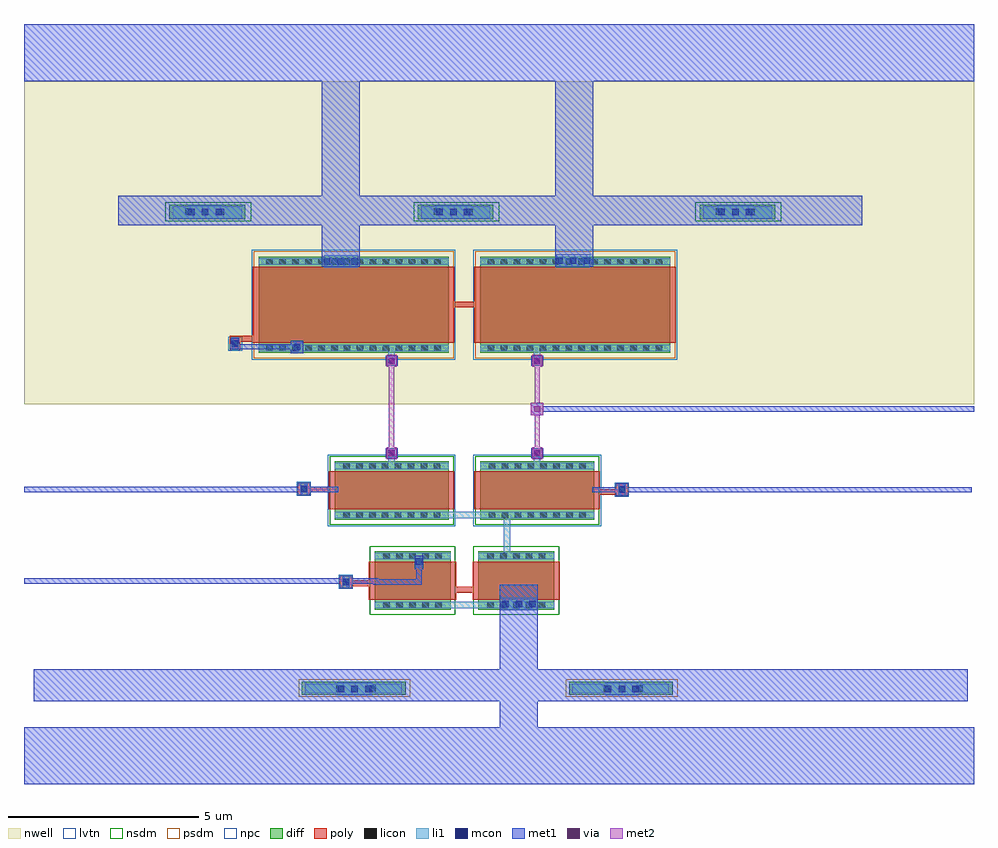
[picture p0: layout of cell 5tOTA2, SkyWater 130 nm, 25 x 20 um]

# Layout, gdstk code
from math import pi, radians
import gdstk
lib = gdstk.Library(unit=1e-6, precision=1e-09)
def R(c, l, rs):  # rectangles x0, y0, x1, y1
    for r in rs: c.add(gdstk.rectangle(r[:2], r[2:], *l))
def A(c, l, x, y, w, h, nx, ny, dx, dy):  # array of equal rectangles
    R(c, l, [(x+i*dx, y+j*dy, x+i*dx+w, y+j*dy+h) for i in range(nx) for j in range(ny)])
nwell = (64, 20)
diff = (65, 20)
poly = (66, 20)
licon = (66, 44)
li1 = (67, 20)
mcon = (67, 44)
met1 = (68, 20)
via = (68, 44)
met2 = (69, 20)
nsdm = (93, 44)
psdm = (94, 20)
npc = (95, 20)
lvtn = (125, 44)

pfet_01v8_lvt_cdns_77835 = lib.new_cell('pfet_01v8_lvt_CDNS_778354838020')
R(pfet_01v8_lvt_cdns_77835, nwell, [(-0.445,-0.18,2.445,5.18)])
R(pfet_01v8_lvt_cdns_77835, diff, [(-0.265,0,0,5), (0,0,2,5), (2,0,2.265,5)])
R(pfet_01v8_lvt_cdns_77835, poly, [(0,-0.15,2,-0.095), (0,-0.095,2,0), (0,0,2,5), (0,5,2,5.095), (0,5.095,2,5.15)])
A(pfet_01v8_lvt_cdns_77835, licon, -0.225, 0.205, 0.17, 0.17, 1, 14, 0, 0.34)
A(pfet_01v8_lvt_cdns_77835, licon, 2.055, 0.205, 0.17, 0.17, 1, 14, 0, 0.34)
R(pfet_01v8_lvt_cdns_77835, li1, [(-0.225,0,-0.055,5), (2.055,0,2.225,5)])
R(pfet_01v8_lvt_cdns_77835, psdm, [(-0.405,-0.13,2.405,5.13)])
R(pfet_01v8_lvt_cdns_77835, lvtn, [(-0.445,-0.18,2.445,5.18)])
pfet_01v8_lvt_cdns_77835.add(gdstk.Label('D_drain_1', (2.132,2.5), layer=65, texttype=20))
pfet_01v8_lvt_cdns_77835.add(gdstk.Label('S_source_0', (-0.132,2.5), layer=65, texttype=20))
pfet_01v8_lvt_cdns_77835.add(gdstk.Label('G_gate_1', (1,-0.122), layer=66, texttype=20))
pfet_01v8_lvt_cdns_77835.add(gdstk.Label('G_gate_1', (1,5.122), layer=66, texttype=20))
pfet_01v8_lvt_cdns_77835.add(gdstk.Label('D_drain_1', (2.14,2.5), layer=67, texttype=20))
pfet_01v8_lvt_cdns_77835.add(gdstk.Label('S_source_0', (-0.14,2.5), layer=67, texttype=20))
pfet_01v8_lvt_cdns_77835.add(gdstk.Label('B', (1,2.5), layer=64, texttype=20))

nfet_01v8_lvt_cdns_77835 = lib.new_cell('nfet_01v8_lvt_CDNS_778354838021')
R(nfet_01v8_lvt_cdns_77835, diff, [(-0.265,0,0,3), (0,0,1,3), (1,0,1.265,3)])
R(nfet_01v8_lvt_cdns_77835, poly, [(0,-0.15,1,-0.095), (0,-0.095,1,0), (0,0,1,3), (0,3,1,3.095), (0,3.095,1,3.15)])
A(nfet_01v8_lvt_cdns_77835, licon, -0.225, 0.225, 0.17, 0.17, 1, 8, 0, 0.34)
A(nfet_01v8_lvt_cdns_77835, licon, 1.055, 0.225, 0.17, 0.17, 1, 8, 0, 0.34)
R(nfet_01v8_lvt_cdns_77835, li1, [(-0.225,0,-0.055,3), (1.055,0,1.225,3)])
R(nfet_01v8_lvt_cdns_77835, nsdm, [(-0.405,-0.13,1.405,3.13)])
R(nfet_01v8_lvt_cdns_77835, lvtn, [(-0.445,-0.18,1.445,3.18)])
nfet_01v8_lvt_cdns_77835.add(gdstk.Label('D_drain_1', (1.132,1.5), layer=65, texttype=20))
nfet_01v8_lvt_cdns_77835.add(gdstk.Label('S_source_0', (-0.132,1.5), layer=65, texttype=20))
nfet_01v8_lvt_cdns_77835.add(gdstk.Label('G_gate_1', (0.5,-0.122), layer=66, texttype=20))
nfet_01v8_lvt_cdns_77835.add(gdstk.Label('G_gate_1', (0.5,3.122), layer=66, texttype=20))
nfet_01v8_lvt_cdns_77835.add(gdstk.Label('D_drain_1', (1.14,1.5), layer=67, texttype=20))
nfet_01v8_lvt_cdns_77835.add(gdstk.Label('S_source_0', (-0.14,1.5), layer=67, texttype=20))

nfet_01v8_cdns_778354838 = lib.new_cell('nfet_01v8_CDNS_778354838022')
R(nfet_01v8_cdns_778354838, diff, [(-0.265,0,0,2), (0,0,1,2), (1,0,1.265,2)])
R(nfet_01v8_cdns_778354838, poly, [(0,-0.15,1,-0.095), (0,-0.095,1,0), (0,0,1,2), (0,2,1,2.095), (0,2.095,1,2.15)])
A(nfet_01v8_cdns_778354838, licon, -0.225, 0.235, 0.17, 0.17, 1, 5, 0, 0.34)
A(nfet_01v8_cdns_778354838, licon, 1.055, 0.235, 0.17, 0.17, 1, 5, 0, 0.34)
R(nfet_01v8_cdns_778354838, li1, [(-0.225,0,-0.055,2), (1.055,0,1.225,2)])
R(nfet_01v8_cdns_778354838, nsdm, [(-0.405,-0.13,1.405,2.13)])
nfet_01v8_cdns_778354838.add(gdstk.Label('D_drain_1', (1.132,1), layer=65, texttype=20))
nfet_01v8_cdns_778354838.add(gdstk.Label('S_source_0', (-0.132,1), layer=65, texttype=20))
nfet_01v8_cdns_778354838.add(gdstk.Label('G_gate_1', (0.5,-0.122), layer=66, texttype=20))
nfet_01v8_cdns_778354838.add(gdstk.Label('G_gate_1', (0.5,2.122), layer=66, texttype=20))
nfet_01v8_cdns_778354838.add(gdstk.Label('D_drain_1', (1.14,1), layer=67, texttype=20))
nfet_01v8_cdns_778354838.add(gdstk.Label('S_source_0', (-0.14,1), layer=67, texttype=20))

c_5tota2 = lib.new_cell('5tOTA2')
R(c_5tota2, nwell, [(-0.05,10.025,24.95,18.525)])
R(c_5tota2, diff, [(7.26,2.375,9.99,2.71), (14.295,2.375,17.025,2.71), (3.775,14.89,5.77,15.265), (10.31,14.89,12.305,15.265), (17.73,14.89,19.725,15.265)])
R(c_5tota2, poly, [(8.255,5.18,8.585,5.51), (15.52,7.605,15.85,7.935), (7.15,7.625,7.48,7.955), (5.37,11.45,5.64,11.78)])
R(c_5tota2, licon, [(8.165,2.45,8.335,2.62), (15.2,2.45,15.37,2.62), (9.03,2.455,9.2,2.625), (16.065,2.455,16.235,2.625), (8.335,5.26,8.505,5.43), (15.6,7.685,15.77,7.855), (7.23,7.705,7.4,7.875), (5.42,11.53,5.59,11.7), (5.05,14.995,5.22,15.165), (11.585,14.995,11.755,15.165), (19.005,14.995,19.175,15.165), (4.195,15.005,4.365,15.175), (10.73,15.005,10.9,15.175), (18.15,15.005,18.32,15.175)])
R(c_5tota2, li1, [(8.205,2.365,9.095,2.695), (15.24,2.365,16.13,2.695), (7.345,2.415,9.885,2.665), (14.38,2.415,16.92,2.665), (12.475,4.595,13.475,4.925), (8.335,5.18,8.505,5.51), (10.26,5.72,10.43,6.05), (15.6,7.605,15.77,7.935), (7.23,7.625,7.4,7.955), (9.54,8.645,9.71,8.815), (13.37,8.645,13.54,8.815), (9.54,11.075,9.71,11.245), (13.37,11.075,13.54,11.245), (6.975,11.365,7.305,11.695), (5.42,11.45,5.59,11.78), (7.845,13.615,8.735,13.945), (13.955,13.63,14.845,13.96), (3.87,14.905,5.69,15.235), (10.405,14.905,12.225,15.235), (17.825,14.905,19.645,15.235), (4.27,14.91,5.16,15.24), (10.805,14.91,11.695,15.24), (18.225,14.91,19.115,15.24)])
A(c_5tota2, mcon, 8.205, 2.445, 0.17, 0.17, 3, 1, 0.36, 0)
A(c_5tota2, mcon, 15.24, 2.445, 0.17, 0.17, 3, 1, 0.36, 0)
A(c_5tota2, mcon, 12.53, 4.675, 0.17, 0.17, 3, 1, 0.36, 0)
A(c_5tota2, mcon, 7.845, 13.695, 0.17, 0.17, 3, 1, 0.36, 0)
A(c_5tota2, mcon, 13.955, 13.71, 0.17, 0.17, 3, 1, 0.36, 0)
A(c_5tota2, mcon, 4.27, 14.99, 0.17, 0.17, 3, 1, 0.36, 0)
A(c_5tota2, mcon, 10.805, 14.99, 0.17, 0.17, 3, 1, 0.36, 0)
A(c_5tota2, mcon, 18.225, 14.99, 0.17, 0.17, 3, 1, 0.36, 0)
R(c_5tota2, mcon, [(8.335,5.26,8.505,5.43), (10.26,5.8,10.43,5.97), (15.6,7.685,15.77,7.855), (7.23,7.705,7.4,7.875), (9.54,8.645,9.71,8.815), (13.37,8.645,13.54,8.815), (9.54,11.075,9.71,11.245), (13.37,11.075,13.54,11.245), (7.055,11.445,7.225,11.615), (5.42,11.53,5.59,11.7)])
R(c_5tota2, met1, [(-0.05,0.025,24.95,1.525), (0.21,2.2,24.785,3.045), (8.175,2.385,9.125,2.675), (15.21,2.385,16.16,2.675), (12.475,4.595,13.475,4.925), (8.255,5.18,8.585,5.51), (10.23,5.74,10.46,6.03), (15.52,7.605,15.85,7.935), (7.15,7.625,7.48,7.955), (9.465,8.6,9.785,8.86), (13.295,8.6,13.615,8.86), (9.48,8.615,9.77,8.845), (13.31,8.615,13.6,8.845), (13.29,9.73,13.62,10.06), (9.465,11.03,9.785,11.29), (13.295,11.03,13.615,11.29), (9.48,11.045,9.77,11.275), (13.31,11.045,13.6,11.275), (6.975,11.365,7.305,11.695), (5.39,11.47,5.62,11.76), (7.815,13.635,8.765,13.925), (13.925,13.65,14.875,13.94), (2.425,14.725,22.005,15.51), (4.24,14.93,5.19,15.22), (10.775,14.93,11.725,15.22), (18.195,14.93,19.145,15.22), (-0.05,18.525,24.95,20.025)])
R(c_5tota2, via, [(9.55,8.655,9.7,8.805), (13.38,8.655,13.53,8.805), (13.38,9.82,13.53,9.97), (9.55,11.085,9.7,11.235), (13.38,11.085,13.53,11.235)])
R(c_5tota2, met2, [(9.495,8.57,9.755,8.89), (13.325,8.57,13.585,8.89), (13.29,9.73,13.62,10.06), (9.495,11,9.755,11.32), (13.325,11,13.585,11.32)])
R(c_5tota2, nsdm, [(3.665,14.83,5.925,15.34), (10.2,14.83,12.46,15.34), (17.62,14.83,19.88,15.34)])
R(c_5tota2, psdm, [(7.175,2.325,10.12,2.785), (14.21,2.325,17.155,2.785)])
R(c_5tota2, npc, [(8.235,5.16,8.605,5.53), (15.5,7.585,15.87,7.955), (7.13,7.605,7.5,7.975), (5.32,11.43,5.69,11.8)])
c_5tota2.add(gdstk.FlexPath([(7.71,7.775),(7.71,7.79)], 0.15, ends=(0.075, 0), simple_path=True, layer=66, datatype=20))  # poly
c_5tota2.add(gdstk.FlexPath([(8,7.775),(7.71,7.775)], 0.15, ends=(0.077, 0.075), simple_path=True, layer=66, datatype=20))  # poly
c_5tota2.add(gdstk.FlexPath([(9.05,5.31),(8.42,5.31)], 0.15, ends=(0.077, 0.075), simple_path=True, layer=66, datatype=20))  # poly
c_5tota2.add(gdstk.FlexPath([(8.42,5.31),(8.42,5.345)], 0.15, ends=(0.075, 0), simple_path=True, layer=66, datatype=20))  # poly
c_5tota2.add(gdstk.FlexPath([(7.315,7.775),(7.315,7.79)], 0.15, ends=(0.075, 0), simple_path=True, layer=66, datatype=20))  # poly
c_5tota2.add(gdstk.FlexPath([(7.71,7.775),(7.315,7.775)], 0.15, ends="extended", simple_path=True, layer=66, datatype=20))  # poly
c_5tota2.add(gdstk.FlexPath([(15.075,7.71),(15.685,7.71)], 0.15, ends=(0.073, 0.075), simple_path=True, layer=66, datatype=20))  # poly
c_5tota2.add(gdstk.FlexPath([(15.685,7.71),(15.685,7.77)], 0.15, ends=(0.075, 0), simple_path=True, layer=66, datatype=20))  # poly
c_5tota2.add(gdstk.FlexPath([(6,11.74),(5.365,11.74)], 0.15, ends=(0.077, 0), simple_path=True, layer=66, datatype=20))  # poly
c_5tota2.add(gdstk.FlexPath([(11.27,5.135),(11.81,5.135)], 0.15, ends="flush", simple_path=True, layer=66, datatype=20))  # poly
c_5tota2.add(gdstk.FlexPath([(11.86,12.64),(11.22,12.64)], 0.15, ends="flush", simple_path=True, layer=66, datatype=20))  # poly
c_5tota2.add(gdstk.FlexPath([(11.99,4.74),(11.99,4.825)], 0.17, ends=(0.085, 0), simple_path=True, layer=67, datatype=20))  # li1
c_5tota2.add(gdstk.FlexPath([(11.175,4.74),(11.99,4.74)], 0.17, ends=(0, 0.085), simple_path=True, layer=67, datatype=20))  # li1
c_5tota2.add(gdstk.FlexPath([(12.665,7.11),(12.665,5.935)], 0.17, ends=(0.085, 0), simple_path=True, layer=67, datatype=20))  # li1
c_5tota2.add(gdstk.FlexPath([(13.455,11.16),(13.455,11.5)], 0.17, ends="extended", simple_path=True, layer=67, datatype=20))  # li1
c_5tota2.add(gdstk.FlexPath([(13.455,8.39),(13.455,8.73)], 0.17, ends="extended", simple_path=True, layer=67, datatype=20))  # li1
c_5tota2.add(gdstk.FlexPath([(9.625,11.16),(9.625,11.5)], 0.17, ends="extended", simple_path=True, layer=67, datatype=20))  # li1
c_5tota2.add(gdstk.FlexPath([(9.625,8.39),(9.625,8.73)], 0.17, ends="extended", simple_path=True, layer=67, datatype=20))  # li1
c_5tota2.add(gdstk.FlexPath([(14.87,7.11),(8.21,7.11)], 0.17, ends="extended", simple_path=True, layer=67, datatype=20))  # li1
c_5tota2.add(gdstk.FlexPath([(13.455,8.73),(13.455,11.16)], 0.14, ends="flush", simple_path=True, layer=69, datatype=20))  # met2
c_5tota2.add(gdstk.FlexPath([(9.625,8.73),(9.625,11.16)], 0.14, ends=(0.16, 0.16), simple_path=True, layer=69, datatype=20))  # met2
c_5tota2.add(gdstk.FlexPath([(8.29,19.53),(8.29,13.78)], 1, ends=(0, 0.145), simple_path=True, layer=68, datatype=20))  # met1
c_5tota2.add(gdstk.FlexPath([(10.345,5.34),(9.215,5.34)], 0.14, ends="extended", simple_path=True, layer=68, datatype=20))  # met1
c_5tota2.add(gdstk.FlexPath([(10.345,5.885),(10.345,5.34)], 0.14, ends=(0, 0.07), simple_path=True, layer=68, datatype=20))  # met1
c_5tota2.add(gdstk.FlexPath([(13.465,9.89),(13.465,9.85)], 0.14, ends="extended", simple_path=True, layer=68, datatype=20))  # met1
c_5tota2.add(gdstk.FlexPath([(9.215,5.37),(-0.05,5.37)], 0.14, ends=(0.07, 0), simple_path=True, layer=68, datatype=20))  # met1
c_5tota2.add(gdstk.FlexPath([(14.9,7.77),(24.89,7.77)], 0.14, ends="flush", simple_path=True, layer=68, datatype=20))  # met1
c_5tota2.add(gdstk.FlexPath([(8.215,7.775),(-0.05,7.775)], 0.14, ends="flush", simple_path=True, layer=68, datatype=20))  # met1
c_5tota2.add(gdstk.FlexPath([(24.95,9.89),(13.465,9.89)], 0.14, ends=(0, 0.07), simple_path=True, layer=68, datatype=20))  # met1
c_5tota2.add(gdstk.FlexPath([(5.43,11.53),(7.14,11.53)], 0.14, ends=(0.07, 0), simple_path=True, layer=68, datatype=20))  # met1
c_5tota2.add(gdstk.FlexPath([(10.345,5.885),(10.345,5.74)], 0.23, ends=(0, 0.07), simple_path=True, layer=68, datatype=20))  # met1
c_5tota2.add(gdstk.FlexPath([(12.975,0.06),(12.975,5.27)], 1, ends="flush", simple_path=True, layer=68, datatype=20))  # met1
c_5tota2.add(gdstk.FlexPath([(9.215,5.34),(9.215,5.37)], 0.14, ends="extended", simple_path=True, layer=68, datatype=20))  # met1
c_5tota2.add(gdstk.FlexPath([(14.43,19.53),(14.43,13.78)], 1, ends=(0, 0.145), simple_path=True, layer=68, datatype=20))  # met1
c_5tota2.add(gdstk.FlexPath([(5.43,11.565),(5.43,11.53)], 0.14, ends=(0, 0.07), simple_path=True, layer=68, datatype=20))  # met1
c_5tota2.add(gdstk.Reference(pfet_01v8_lvt_cdns_77835, (11.955,13.64), rotation=3*pi/2))
c_5tota2.add(gdstk.Reference(pfet_01v8_lvt_cdns_77835, (11.125,13.64), rotation=3*pi/2, x_reflection=True))
c_5tota2.add(gdstk.Reference(nfet_01v8_lvt_cdns_77835, (14.955,7.25), rotation=pi/2))
c_5tota2.add(gdstk.Reference(nfet_01v8_lvt_cdns_77835, (11.125,7.25), rotation=pi/2))
c_5tota2.add(gdstk.Reference(nfet_01v8_cdns_778354838, (11.175,4.88), rotation=pi/2))
c_5tota2.add(gdstk.Reference(nfet_01v8_cdns_778354838, (13.905,4.88), rotation=pi/2))

lib.write_gds('5tOTA2.gds')
